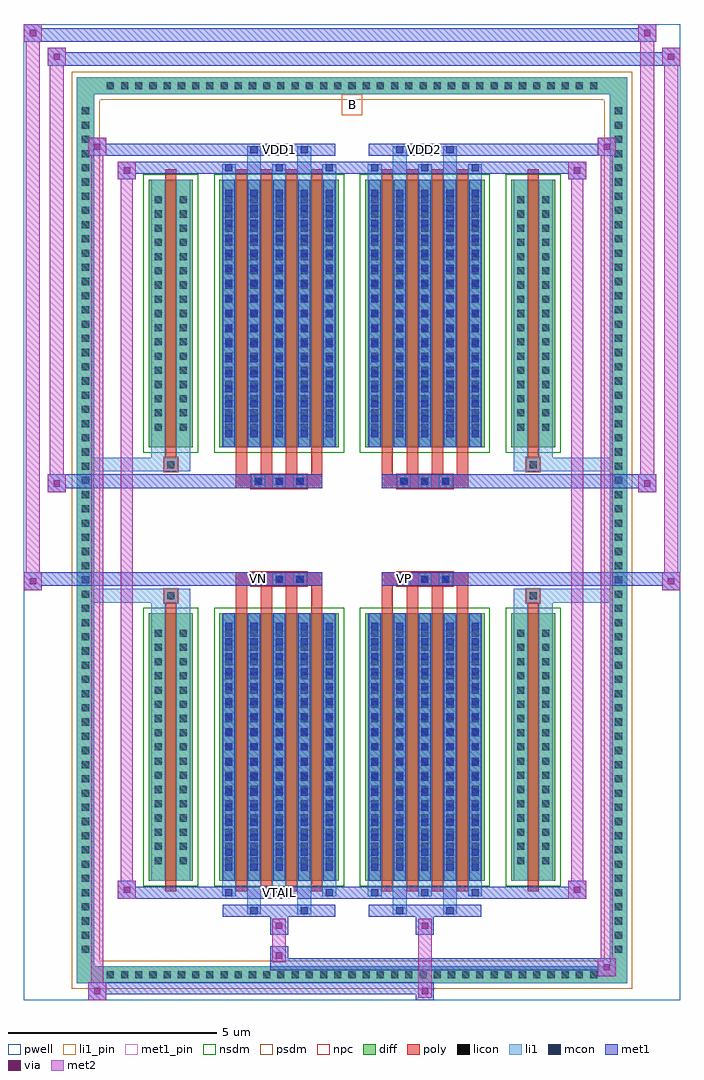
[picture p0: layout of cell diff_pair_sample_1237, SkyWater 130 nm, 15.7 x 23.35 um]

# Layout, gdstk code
import gdstk
lib = gdstk.Library(unit=1e-6, precision=5e-09)
def R(c, l, rs):  # rectangles x0, y0, x1, y1
    for r in rs: c.add(gdstk.rectangle(r[:2], r[2:], *l))
def A(c, l, x, y, w, h, nx, ny, dx, dy):  # array of equal rectangles
    R(c, l, [(x+i*dx, y+j*dy, x+i*dx+w, y+j*dy+h) for i in range(nx) for j in range(ny)])
def P(c, l, *ps):  # polygons
    for p in ps: c.add(gdstk.Polygon(p, *l))
pwell = (64, 44)
diff = (65, 20)
poly = (66, 20)
licon = (66, 44)
li1_pin = (67, 16)
li1 = (67, 20)
mcon = (67, 44)
met1_pin = (68, 16)
met1 = (68, 20)
via = (68, 44)
met2 = (69, 20)
nsdm = (93, 44)
psdm = (94, 20)
npc = (95, 20)

diff_pair_sample_1237 = lib.new_cell('diff_pair_sample_1237')
R(diff_pair_sample_1237, pwell, [(-7.85,-11.24,7.85,12.11), (-5.17,-9.43,-0.01,-0.805), (0.01,-9.43,5.17,-0.805), (-5.17,0.805,-0.01,9.43), (0.01,0.805,5.17,9.43)])
A(diff_pair_sample_1237, diff, -5.985, -10.84, 0.41, 0.41, 35, 2, 0.34, 21.27)
A(diff_pair_sample_1237, diff, -6.58, -10.235, 0.41, 0.41, 1, 60, 0, 0.34)
A(diff_pair_sample_1237, diff, 6.17, -10.235, 0.41, 0.41, 1, 60, 0, 0.34)
R(diff_pair_sample_1237, diff, [(-5.985,-10.84,5.985,-10.43), (-6.58,-10.235,-6.17,10.235), (6.17,-10.235,6.58,10.235), (-4.86,-8.385,-3.81,-1.985), (-3.17,-8.385,-0.32,-1.985), (0.32,-8.385,3.17,-1.985), (3.81,-8.385,4.86,-1.985), (-4.86,1.985,-3.81,8.385), (-3.17,1.985,-0.32,8.385), (0.32,1.985,3.17,8.385), (3.81,1.985,4.86,8.385), (-5.985,10.43,5.985,10.84)])
P(diff_pair_sample_1237, diff, [(6.58,10.84),(-6.58,10.84),(-6.58,-10.43),(-6.17,-10.43),(-6.17,10.43),(6.17,10.43),(6.17,-10.43),(-6.17,-10.43),(-6.58,-10.43),(-6.58,-10.84),(6.58,-10.84)])
A(diff_pair_sample_1237, poly, -2.78, -8.635, 0.27, 6.9, 4, 2, 0.6, 10.37)
A(diff_pair_sample_1237, poly, 0.71, -8.635, 0.27, 6.9, 4, 2, 0.6, 10.37)
A(diff_pair_sample_1237, poly, -2.78, -1.735, 0.27, 0.4, 4, 2, 0.6, 3.07)
A(diff_pair_sample_1237, poly, 0.71, -1.735, 0.27, 0.4, 4, 2, 0.6, 3.07)
A(diff_pair_sample_1237, poly, -2.41, -1.335, 0.33, 0.33, 3, 2, 0.5, 2.34)
A(diff_pair_sample_1237, poly, 1.08, -1.335, 0.33, 0.33, 3, 2, 0.5, 2.34)
R(diff_pair_sample_1237, poly, [(-4.47,-8.635,-4.2,-1.735), (4.2,-8.635,4.47,-1.735), (-4.5,-1.735,-4.17,-1.405), (-4.5,-1.735,-4.17,-1.405), (4.17,-1.735,4.5,-1.405), (4.17,-1.735,4.5,-1.405), (-2.78,-1.335,-0.71,-1.005), (0.71,-1.335,2.78,-1.005), (-2.78,1.005,-0.71,1.335), (0.71,1.005,2.78,1.335), (-4.5,1.405,-4.17,1.735), (-4.5,1.405,-4.17,1.735), (4.17,1.405,4.5,1.735), (4.17,1.405,4.5,1.735), (-4.47,1.735,-4.2,8.635), (4.2,1.735,4.47,8.635)])
A(diff_pair_sample_1237, licon, -5.865, -10.72, 0.17, 0.17, 35, 2, 0.34, 21.27)
A(diff_pair_sample_1237, licon, -6.46, -10.115, 0.17, 0.17, 1, 60, 0, 0.34)
A(diff_pair_sample_1237, licon, 6.29, -10.115, 0.17, 0.17, 1, 60, 0, 0.34)
A(diff_pair_sample_1237, licon, -4.72, -7.99, 0.17, 0.17, 1, 17, 0, 0.34)
A(diff_pair_sample_1237, licon, -4.12, -7.99, 0.17, 0.17, 1, 17, 0, 0.34)
A(diff_pair_sample_1237, licon, -3.03, -7.99, 0.17, 0.17, 5, 17, 0.6, 0.34)
A(diff_pair_sample_1237, licon, 0.46, -7.99, 0.17, 0.17, 5, 17, 0.6, 0.34)
A(diff_pair_sample_1237, licon, 3.95, -7.99, 0.17, 0.17, 1, 17, 0, 0.34)
A(diff_pair_sample_1237, licon, 4.55, -7.99, 0.17, 0.17, 1, 17, 0, 0.34)
A(diff_pair_sample_1237, licon, -2.33, -1.255, 0.17, 0.17, 3, 2, 0.5, 2.34)
A(diff_pair_sample_1237, licon, 1.16, -1.255, 0.17, 0.17, 3, 2, 0.5, 2.34)
A(diff_pair_sample_1237, licon, -4.72, 2.38, 0.17, 0.17, 1, 17, 0, 0.34)
A(diff_pair_sample_1237, licon, -4.12, 2.38, 0.17, 0.17, 1, 17, 0, 0.34)
A(diff_pair_sample_1237, licon, -3.03, 2.38, 0.17, 0.17, 5, 17, 0.6, 0.34)
A(diff_pair_sample_1237, licon, 0.46, 2.38, 0.17, 0.17, 5, 17, 0.6, 0.34)
A(diff_pair_sample_1237, licon, 3.95, 2.38, 0.17, 0.17, 1, 17, 0, 0.34)
A(diff_pair_sample_1237, licon, 4.55, 2.38, 0.17, 0.17, 1, 17, 0, 0.34)
R(diff_pair_sample_1237, licon, [(-4.42,-1.655,-4.25,-1.485), (4.25,-1.655,4.42,-1.485), (-4.42,1.485,-4.25,1.655), (4.25,1.485,4.42,1.655)])
R(diff_pair_sample_1237, li1_pin, [(-0.25,9.93,0.25,10.43)])
A(diff_pair_sample_1237, li1, -5.945, -10.8, 0.33, 0.33, 35, 2, 0.34, 21.27)
A(diff_pair_sample_1237, li1, -6.54, -10.195, 0.33, 0.33, 1, 60, 0, 0.34)
A(diff_pair_sample_1237, li1, 6.21, -10.195, 0.33, 0.33, 1, 60, 0, 0.34)
A(diff_pair_sample_1237, li1, -3.11, -8.76, 0.33, 0.375, 3, 2, 1.2, 17.145)
A(diff_pair_sample_1237, li1, -3.03, -8.76, 0.17, 0.17, 3, 2, 1.2, 17.35)
A(diff_pair_sample_1237, li1, 0.38, -8.76, 0.33, 0.375, 3, 2, 1.2, 17.145)
A(diff_pair_sample_1237, li1, 0.46, -8.76, 0.17, 0.17, 3, 2, 1.2, 17.35)
A(diff_pair_sample_1237, li1, -3.11, -8.385, 0.33, 6.4, 5, 2, 0.6, 10.37)
A(diff_pair_sample_1237, li1, 0.38, -8.385, 0.33, 6.4, 5, 2, 0.6, 10.37)
A(diff_pair_sample_1237, li1, -3.03, -8.15, 0.17, 0.17, 5, 17, 0.6, 0.36)
A(diff_pair_sample_1237, li1, -3.03, -8.15, 0.17, 5.93, 5, 2, 0.6, 10.37)
A(diff_pair_sample_1237, li1, 0.46, -8.15, 0.17, 0.17, 5, 17, 0.6, 0.36)
A(diff_pair_sample_1237, li1, 0.46, -8.15, 0.17, 5.93, 5, 2, 0.6, 10.37)
A(diff_pair_sample_1237, li1, -4.8, -8.07, 0.33, 0.33, 1, 17, 0, 0.34)
A(diff_pair_sample_1237, li1, -4.2, -8.07, 0.33, 0.33, 1, 17, 0, 0.34)
A(diff_pair_sample_1237, li1, -3.11, -8.07, 0.33, 0.33, 5, 17, 0.6, 0.34)
A(diff_pair_sample_1237, li1, 0.38, -8.07, 0.33, 0.33, 5, 17, 0.6, 0.34)
A(diff_pair_sample_1237, li1, 3.87, -8.07, 0.33, 0.33, 1, 17, 0, 0.34)
A(diff_pair_sample_1237, li1, 4.47, -8.07, 0.33, 0.33, 1, 17, 0, 0.34)
A(diff_pair_sample_1237, li1, -2.41, -1.335, 0.33, 0.33, 3, 2, 0.5, 2.34)
A(diff_pair_sample_1237, li1, 1.08, -1.335, 0.33, 0.33, 3, 2, 0.5, 2.34)
A(diff_pair_sample_1237, li1, -3.03, 2.22, 0.17, 0.17, 5, 17, 0.6, 0.36)
A(diff_pair_sample_1237, li1, 0.46, 2.22, 0.17, 0.17, 5, 17, 0.6, 0.36)
A(diff_pair_sample_1237, li1, -4.8, 2.3, 0.33, 0.33, 1, 17, 0, 0.34)
A(diff_pair_sample_1237, li1, -4.2, 2.3, 0.33, 0.33, 1, 17, 0, 0.34)
A(diff_pair_sample_1237, li1, -3.11, 2.3, 0.33, 0.33, 5, 17, 0.6, 0.34)
A(diff_pair_sample_1237, li1, 0.38, 2.3, 0.33, 0.33, 5, 17, 0.6, 0.34)
A(diff_pair_sample_1237, li1, 3.87, 2.3, 0.33, 0.33, 1, 17, 0, 0.34)
A(diff_pair_sample_1237, li1, 4.47, 2.3, 0.33, 0.33, 1, 17, 0, 0.34)
R(diff_pair_sample_1237, li1, [(-6.58,-10.84,-6.17,-10.43), (-6.58,-10.84,-6.17,-10.43), (-6.17,-10.84,6.17,-10.43), (6.17,-10.84,6.58,-10.43), (6.17,-10.84,6.58,-10.43), (-6.58,-10.43,-6.17,10.43), (6.17,-10.43,6.58,10.43), (-2.51,-9.19,-2.18,-8.385), (-2.43,-9.19,-2.26,-9.02), (-1.31,-9.19,-0.98,-8.385), (-1.23,-9.19,-1.06,-9.02), (0.98,-9.19,1.31,-8.385), (1.06,-9.19,1.23,-9.02), (2.18,-9.19,2.51,-8.385), (2.26,-9.19,2.43,-9.02), (-4.8,-8.385,-4.47,-1.985), (-4.2,-8.385,-3.87,-1.985), (3.87,-8.385,4.2,-1.985), (4.47,-8.385,4.8,-1.985), (-4.8,-1.985,-4.47,-1.405), (-4.2,-1.985,-3.87,-1.405), (3.87,-1.985,4.2,-1.405), (4.47,-1.985,4.8,-1.405), (-6.58,-1.735,-4.5,-1.405), (-4.8,-1.735,-4.5,-1.405), (-4.5,-1.735,-4.17,-1.405), (-4.17,-1.735,-3.87,-1.405), (3.87,-1.735,4.17,-1.405), (4.17,-1.735,4.5,-1.405), (4.17,-1.735,6.58,-1.405), (4.5,-1.735,4.8,-1.405), (-6.58,1.405,-4.5,1.735), (-4.8,1.405,-4.5,1.735), (-4.8,1.405,-4.47,1.985), (-4.5,1.405,-4.17,1.735), (-4.2,1.405,-3.87,1.985), (-4.17,1.405,-3.87,1.735), (3.87,1.405,4.17,1.735), (3.87,1.405,4.2,1.985), (4.17,1.405,4.5,1.735), (4.17,1.405,6.58,1.735), (4.47,1.405,4.8,1.985), (4.5,1.405,4.8,1.735), (-4.8,1.985,-4.47,8.385), (-4.2,1.985,-3.87,8.385), (3.87,1.985,4.2,8.385), (4.47,1.985,4.8,8.385), (-2.51,8.385,-2.18,9.19), (-1.31,8.385,-0.98,9.19), (0.98,8.385,1.31,9.19), (2.18,8.385,2.51,9.19), (-2.43,9.02,-2.26,9.19), (-1.23,9.02,-1.06,9.19), (1.06,9.02,1.23,9.19), (2.26,9.02,2.43,9.19), (-6.58,10.43,-6.17,10.84), (-6.58,10.43,-6.17,10.84), (-6.17,10.43,6.17,10.84), (6.17,10.43,6.58,10.84), (6.17,10.43,6.58,10.84)])
A(diff_pair_sample_1237, mcon, -3.03, -8.76, 0.17, 0.17, 3, 2, 1.2, 17.35)
A(diff_pair_sample_1237, mcon, 0.46, -8.76, 0.17, 0.17, 3, 2, 1.2, 17.35)
A(diff_pair_sample_1237, mcon, -3.03, -8.15, 0.17, 0.17, 5, 17, 0.6, 0.36)
A(diff_pair_sample_1237, mcon, 0.46, -8.15, 0.17, 0.17, 5, 17, 0.6, 0.36)
A(diff_pair_sample_1237, mcon, -2.33, -1.255, 0.17, 0.17, 3, 2, 0.5, 2.34)
A(diff_pair_sample_1237, mcon, 1.16, -1.255, 0.17, 0.17, 3, 2, 0.5, 2.34)
A(diff_pair_sample_1237, mcon, -3.03, 2.22, 0.17, 0.17, 5, 17, 0.6, 0.36)
A(diff_pair_sample_1237, mcon, 0.46, 2.22, 0.17, 0.17, 5, 17, 0.6, 0.36)
R(diff_pair_sample_1237, mcon, [(-2.43,-9.19,-2.26,-9.02), (-1.23,-9.19,-1.06,-9.02), (1.06,-9.19,1.23,-9.02), (2.26,-9.19,2.43,-9.02), (-2.43,9.02,-2.26,9.19), (-1.23,9.02,-1.06,9.19), (1.06,9.02,1.23,9.19), (2.26,9.02,2.43,9.19)])
R(diff_pair_sample_1237, met1_pin, [(-1.88,-8.8,-1.61,-8.53), (-2.38,-1.295,-2.11,-1.025), (1.11,-1.295,1.38,-1.025), (-1.88,8.98,-1.61,9.25), (1.61,8.98,1.88,9.25)])
A(diff_pair_sample_1237, met1, -3.09, -8.82, 0.29, 0.29, 3, 2, 1.2, 17.35)
A(diff_pair_sample_1237, met1, 0.4, -8.82, 0.29, 0.29, 3, 2, 1.2, 17.35)
A(diff_pair_sample_1237, met1, -3.09, -8.385, 0.29, 6.4, 5, 2, 0.6, 10.37)
A(diff_pair_sample_1237, met1, 0.4, -8.385, 0.29, 6.4, 5, 2, 0.6, 10.37)
A(diff_pair_sample_1237, met1, -3.09, -8.21, 0.29, 0.29, 5, 17, 0.6, 0.36)
A(diff_pair_sample_1237, met1, 0.4, -8.21, 0.29, 0.29, 5, 17, 0.6, 0.36)
A(diff_pair_sample_1237, met1, -2.39, -1.315, 0.29, 0.29, 3, 2, 0.5, 2.34)
A(diff_pair_sample_1237, met1, 1.1, -1.315, 0.29, 0.29, 3, 2, 0.5, 2.34)
A(diff_pair_sample_1237, met1, -3.09, 2.16, 0.29, 0.29, 5, 17, 0.6, 0.36)
A(diff_pair_sample_1237, met1, 0.4, 2.16, 0.29, 0.29, 5, 17, 0.6, 0.36)
R(diff_pair_sample_1237, met1, [(-6.31,-11.24,-5.88,-10.81), (1.53,-11.24,1.96,-10.81), (-6.31,-11.1,1.96,-10.81), (5.88,-10.67,6.31,-10.24), (-1.96,-10.53,6.31,-10.24), (-1.96,-10.39,-1.53,-9.96), (-1.96,-9.68,-1.53,-9.25), (1.53,-9.68,1.96,-9.25), (-3.09,-9.25,-0.4,-8.96), (-2.49,-9.25,-2.2,-8.96), (-1.29,-9.25,-1,-8.96), (0.4,-9.25,3.09,-8.96), (1,-9.25,1.29,-8.96), (2.2,-9.25,2.49,-8.96), (-5.6,-8.82,-5.17,-8.39), (-5.6,-8.82,-3.09,-8.53), (-3.09,-8.82,-0.4,-8.53), (-0.4,-8.82,0.4,-8.53), (0.4,-8.82,3.09,-8.53), (3.09,-8.82,5.6,-8.53), (5.17,-8.82,5.6,-8.39), (-7.85,-1.435,-7.42,-1.005), (7.42,-1.435,7.85,-1.005), (-7.85,-1.335,-0.71,-1.005), (-2.78,-1.335,-0.71,-1.005), (0.71,-1.335,2.78,-1.005), (0.71,-1.335,7.85,-1.005), (-7.28,0.905,-6.85,1.335), (6.85,0.905,7.28,1.335), (-7.28,1.005,-2.78,1.335), (-2.78,1.005,-0.71,1.335), (0.71,1.005,2.78,1.335), (2.78,1.005,7.28,1.335), (-5.6,8.39,-5.17,8.82), (5.17,8.39,5.6,8.82), (-5.6,8.53,-3.09,8.82), (-3.09,8.53,-0.4,8.82), (-0.4,8.53,0.4,8.82), (0.4,8.53,3.09,8.82), (3.09,8.53,5.6,8.82), (-6.31,8.96,-5.88,9.39), (-6.31,8.96,-3.09,9.25), (-3.09,8.96,-0.4,9.25), (-2.49,8.96,-2.2,9.25), (-1.29,8.96,-1,9.25), (0.4,8.96,3.09,9.25), (1,8.96,1.29,9.25), (2.2,8.96,2.49,9.25), (3.09,8.96,6.31,9.25), (5.88,8.96,6.31,9.39), (-7.28,11.11,-6.85,11.54), (-7.28,11.11,-5.17,11.44), (-5.17,11.11,5.17,11.44), (5.17,11.11,7.85,11.44), (7.42,11.11,7.85,11.54), (-7.85,11.68,-7.42,12.11), (-7.85,11.68,-5.17,12.01), (-5.17,11.68,5.17,12.01), (5.17,11.68,7.28,12.01), (6.85,11.68,7.28,12.11)])
R(diff_pair_sample_1237, via, [(-6.17,-11.1,-6.02,-10.95), (1.67,-11.1,1.82,-10.95), (6.02,-10.53,6.17,-10.38), (-1.82,-10.25,-1.67,-10.1), (-1.82,-9.54,-1.67,-9.39), (1.67,-9.54,1.82,-9.39), (-5.46,-8.68,-5.31,-8.53), (5.31,-8.68,5.46,-8.53), (-7.71,-1.295,-7.56,-1.145), (7.56,-1.295,7.71,-1.145), (-7.14,1.045,-6.99,1.195), (6.99,1.045,7.14,1.195), (-5.46,8.53,-5.31,8.68), (5.31,8.53,5.46,8.68), (-6.17,9.1,-6.02,9.25), (6.02,9.1,6.17,9.25), (-7.14,11.25,-6.99,11.4), (7.56,11.25,7.71,11.4), (-7.71,11.82,-7.56,11.97), (6.99,11.82,7.14,11.97)])
R(diff_pair_sample_1237, met2, [(-6.31,-11.24,-5.88,-10.81), (-6.24,-11.24,-5.95,9.39), (-5.95,-11.24,-5.88,-10.81), (-6.26,-11.19,-5.93,-10.86), (1.58,-11.19,1.91,-10.86), (1.58,-10.86,1.91,-9.63), (5.88,-10.67,6.31,-10.24), (5.95,-10.67,6.24,9.39), (6.24,-10.67,6.31,-10.24), (5.93,-10.62,6.26,-10.29), (-1.91,-10.34,-1.58,-10.01), (-1.91,-10.01,-1.58,-9.63), (-1.91,-9.63,-1.58,-9.3), (1.58,-9.63,1.91,-9.3), (-5.6,-8.82,-5.17,-8.39), (-5.53,-8.82,-5.24,8.82), (-5.24,-8.82,-5.17,-8.39), (5.17,-8.82,5.6,-8.39), (5.24,-8.82,5.53,8.82), (5.53,-8.82,5.6,-8.39), (-5.55,-8.77,-5.22,-8.44), (5.22,-8.77,5.55,-8.44), (-7.85,-1.435,-7.42,-1.005), (-7.8,-1.435,-7.47,12.11), (-7.47,-1.435,-7.42,-1.005), (7.42,-1.435,7.85,-1.005), (7.47,-1.435,7.8,11.54), (7.8,-1.435,7.85,-1.005), (-7.8,-1.385,-7.47,-1.055), (7.47,-1.385,7.8,-1.055), (-7.28,0.905,-6.85,1.335), (-7.23,0.905,-6.9,11.54), (-6.9,0.905,-6.85,1.335), (6.85,0.905,7.28,1.335), (6.9,0.905,7.23,12.11), (7.23,0.905,7.28,1.335), (-7.23,0.955,-6.9,1.285), (6.9,0.955,7.23,1.285), (-5.6,8.39,-5.17,8.82), (-5.24,8.39,-5.17,8.82), (5.17,8.39,5.6,8.82), (5.53,8.39,5.6,8.82), (-5.55,8.44,-5.22,8.77), (5.22,8.44,5.55,8.77), (-6.31,8.96,-5.88,9.39), (-5.95,8.96,-5.88,9.39), (5.88,8.96,6.31,9.39), (6.24,8.96,6.31,9.39), (-6.26,9.01,-5.93,9.34), (5.93,9.01,6.26,9.34), (-7.28,11.11,-6.85,11.54), (-6.9,11.11,-6.85,11.54), (7.42,11.11,7.85,11.54), (7.8,11.11,7.85,11.54), (-7.23,11.16,-6.9,11.49), (7.47,11.16,7.8,11.49), (-7.85,11.68,-7.42,12.11), (-7.47,11.68,-7.42,12.11), (6.85,11.68,7.28,12.11), (7.23,11.68,7.28,12.11), (-7.8,11.73,-7.47,12.06), (6.9,11.73,7.23,12.06)])
R(diff_pair_sample_1237, nsdm, [(-4.99,-8.515,-3.68,-1.855), (-3.3,-8.515,-0.19,-1.855), (0.19,-8.515,3.3,-1.855), (3.68,-8.515,4.99,-1.855), (-4.99,1.855,-3.68,8.515), (-3.3,1.855,-0.19,8.515), (0.19,1.855,3.3,8.515), (3.68,1.855,4.99,8.515)])
P(diff_pair_sample_1237, psdm, [(6.71,10.97),(-6.71,10.97),(-6.71,-10.3),(-6.04,-10.3),(-6.04,10.3),(6.04,10.3),(6.04,-10.3),(-6.04,-10.3),(-6.71,-10.3),(-6.71,-10.97),(6.71,-10.97)])
A(diff_pair_sample_1237, npc, -2.43, -1.355, 0.37, 0.37, 3, 2, 0.5, 2.34)
A(diff_pair_sample_1237, npc, 1.06, -1.355, 0.37, 0.37, 3, 2, 0.5, 2.34)
R(diff_pair_sample_1237, npc, [(-4.52,-1.755,-4.15,-1.385), (4.15,-1.755,4.52,-1.385), (-2.43,-1.355,-1.56,-0.985), (-2.43,-1.355,-1.56,-0.985), (-1.93,-1.355,-1.06,-0.985), (-1.93,-1.355,-1.06,-0.985), (1.06,-1.355,1.93,-0.985), (1.06,-1.355,1.93,-0.985), (1.56,-1.355,2.43,-0.985), (1.56,-1.355,2.43,-0.985), (-2.43,0.985,-1.56,1.355), (-2.43,0.985,-1.56,1.355), (-1.93,0.985,-1.06,1.355), (-1.93,0.985,-1.06,1.355), (1.06,0.985,1.93,1.355), (1.06,0.985,1.93,1.355), (1.56,0.985,2.43,1.355), (1.56,0.985,2.43,1.355), (-4.52,1.385,-4.15,1.755), (4.15,1.385,4.52,1.755)])
diff_pair_sample_1237.add(gdstk.Label('VTAIL', (-1.745,-8.665), layer=68, texttype=5))
diff_pair_sample_1237.add(gdstk.Label('VN', (-2.245,-1.16), layer=68, texttype=5))
diff_pair_sample_1237.add(gdstk.Label('VP', (1.245,-1.16), layer=68, texttype=5))
diff_pair_sample_1237.add(gdstk.Label('B', (0,10.18), layer=67, texttype=5))
diff_pair_sample_1237.add(gdstk.Label('VDD2', (1.745,9.115), layer=68, texttype=5))
diff_pair_sample_1237.add(gdstk.Label('VDD1', (-1.745,9.115), layer=68, texttype=5))

lib.write_gds('diff_pair_sample_1237.gds')
